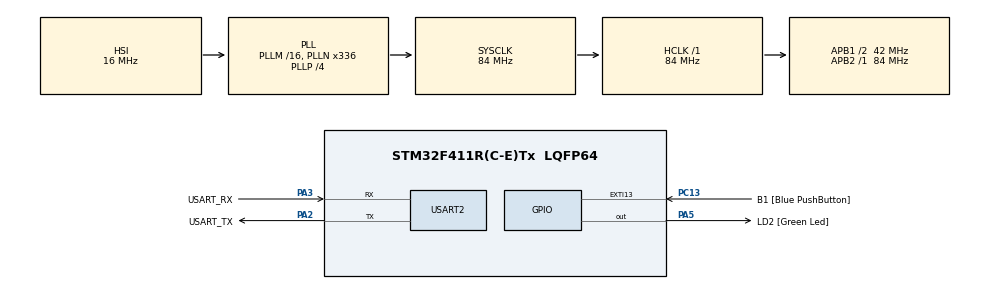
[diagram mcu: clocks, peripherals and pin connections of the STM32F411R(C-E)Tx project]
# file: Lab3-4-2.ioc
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FREERTOS.Tasks01=defaultTask,0,128,StartDefaultTask,Default,NULL,Dynamic,NULL,NULL
Mcu.Family=STM32F4
Mcu.Name=STM32F411R(C-E)Tx
Mcu.Package=LQFP64
NVIC.PriorityGroup=NVIC_PRIORITYGROUP_4
PA13.GPIO_Label=TMS
PA13.Mode=Serial_Wire
PA13.Signal=SYS_JTMS-SWDIO
PA14.GPIO_Label=TCK
PA14.Mode=Serial_Wire
PA14.Signal=SYS_JTCK-SWCLK
PA2.GPIO_Label=USART_TX
PA2.Mode=Asynchronous
PA2.Signal=USART2_TX
PA3.GPIO_Label=USART_RX
PA3.Mode=Asynchronous
PA3.Signal=USART2_RX
PA5.GPIO_Label=LD2 [Green Led]
PA5.Signal=GPIO_Output
PB3.GPIO_Label=SWO
PB3.Signal=SYS_JTDO-SWO
PC13-ANTI_TAMP.GPIO_Label=B1 [Blue PushButton]
PC13-ANTI_TAMP.GPIO_ModeDefaultEXTI=GPIO_MODE_IT_FALLING
PC13-ANTI_TAMP.Signal=GPXTI13
PC14-OSC32_IN.Mode=LSE-External-Oscillator
PC14-OSC32_IN.Signal=RCC_OSC32_IN
PC15-OSC32_OUT.Mode=LSE-External-Oscillator
PC15-OSC32_OUT.Signal=RCC_OSC32_OUT
PH0\ -\ OSC_IN.Mode=HSE-External-Clock-Source
PH0\ -\ OSC_IN.Signal=RCC_OSC_IN
PH1\ -\ OSC_OUT.Mode=HSE-External-Clock-Source
PH1\ -\ OSC_OUT.Signal=RCC_OSC_OUT
ProjectManager.HeapSize=0x200
ProjectManager.StackSize=0x400
ProjectManager.TargetToolchain=STM32CubeIDE
RCC.48MHZClocksFreq_Value=84000000
RCC.AHBFreq_Value=84000000
RCC.APB1CLKDivider=RCC_HCLK_DIV2
RCC.APB1Freq_Value=42000000
RCC.APB1TimFreq_Value=84000000
RCC.APB2Freq_Value=84000000
RCC.APB2TimFreq_Value=84000000
RCC.CortexFreq_Value=84000000
RCC.FLatency-AdvancedSettings=FLASH_LATENCY_2
RCC.HCLKFreq_Value=84000000
RCC.HSE_VALUE=8000000
RCC.HSI_VALUE=16000000
RCC.PLLN=336
RCC.PLLP=RCC_PLLP_DIV4
RCC.SYSCLKFreq_VALUE=84000000
RCC.SYSCLKSource=RCC_SYSCLKSOURCE_PLLCLK
RCC.VCOOutputFreq_Value=336000000
USART2.VirtualMode=VM_ASYNC
VP_FREERTOS_VS_CMSIS_V1.Mode=CMSIS_V1
board=NUCLEO-F411RE

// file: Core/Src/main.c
/* USER CODE BEGIN Header */
/**
 ******************************************************************************
 * @file           : main.c
 * @brief          : Main program body
 ******************************************************************************
 * @attention
 *
 * <h2><center>&copy; Copyright (c) 2021 STMicroelectronics.
 * All rights reserved.</center></h2>
 *
 * This software component is licensed by ST under BSD 3-Clause license,
 * the "License"; You may not use this file except in compliance with the
 * License. You may obtain a copy of the License at:
 *                        opensource.org/licenses/BSD-3-Clause
 *
 ******************************************************************************
 */
/* USER CODE END Header */
#include "main.h"
#include "cmsis_os.h"

UART_HandleTypeDef huart2;

osThreadId defaultTaskHandle;

void SystemClock_Config(void);
static void MX_GPIO_Init(void);
static void MX_USART2_UART_Init(void);
void StartDefaultTask(void const *argument);

int main(void) {

	/* MCU Configuration--------------------------------------------------------*/

	/* Reset of all peripherals, Initializes the Flash interface and the Systick. */
	HAL_Init();

	/* Configure the system clock */
	SystemClock_Config();

	/* Initialize all configured peripherals */
	MX_GPIO_Init();
	MX_USART2_UART_Init();

	/* Create the thread(s) */
	/* definition and creation of defaultTask */
	osThreadDef(defaultTask, StartDefaultTask, osPriorityNormal, 0, 128);
	defaultTaskHandle = osThreadCreate(osThread(defaultTask), NULL);

	/* Start scheduler */
	osKernelStart();

	/* We should never get here as control is now taken by the scheduler */
	/* Infinite loop */
	while (1) {

	}
}

void SystemClock_Config(void) {
	RCC_OscInitTypeDef RCC_OscInitStruct = { 0 };
	RCC_ClkInitTypeDef RCC_ClkInitStruct = { 0 };

	/** Configure the main internal regulator output voltage
	 */
	__HAL_RCC_PWR_CLK_ENABLE();
	__HAL_PWR_VOLTAGESCALING_CONFIG(PWR_REGULATOR_VOLTAGE_SCALE1);
	/** Initializes the RCC Oscillators according to the specified parameters
	 * in the RCC_OscInitTypeDef structure.
	 */
	RCC_OscInitStruct.OscillatorType = RCC_OSCILLATORTYPE_HSI;
	RCC_OscInitStruct.HSIState = RCC_HSI_ON;
	RCC_OscInitStruct.HSICalibrationValue = RCC_HSICALIBRATION_DEFAULT;
	RCC_OscInitStruct.PLL.PLLState = RCC_PLL_ON;
	RCC_OscInitStruct.PLL.PLLSource = RCC_PLLSOURCE_HSI;
	RCC_OscInitStruct.PLL.PLLM = 16;
	RCC_OscInitStruct.PLL.PLLN = 336;
	RCC_OscInitStruct.PLL.PLLP = RCC_PLLP_DIV4;
	RCC_OscInitStruct.PLL.PLLQ = 4;
	if (HAL_RCC_OscConfig(&RCC_OscInitStruct) != HAL_OK) {
		Error_Handler();
	}
	/** Initializes the CPU, AHB and APB buses clocks
	 */
	RCC_ClkInitStruct.ClockType = RCC_CLOCKTYPE_HCLK | RCC_CLOCKTYPE_SYSCLK
			| RCC_CLOCKTYPE_PCLK1 | RCC_CLOCKTYPE_PCLK2;
	RCC_ClkInitStruct.SYSCLKSource = RCC_SYSCLKSOURCE_PLLCLK;
	RCC_ClkInitStruct.AHBCLKDivider = RCC_SYSCLK_DIV1;
	RCC_ClkInitStruct.APB1CLKDivider = RCC_HCLK_DIV2;
	RCC_ClkInitStruct.APB2CLKDivider = RCC_HCLK_DIV1;

	if (HAL_RCC_ClockConfig(&RCC_ClkInitStruct, FLASH_LATENCY_2) != HAL_OK) {
		Error_Handler();
	}
}

static void MX_USART2_UART_Init(void) {

	huart2.Instance = USART2;
	huart2.Init.BaudRate = 115200;
	huart2.Init.WordLength = UART_WORDLENGTH_8B;
	huart2.Init.StopBits = UART_STOPBITS_1;
	huart2.Init.Parity = UART_PARITY_NONE;
	huart2.Init.Mode = UART_MODE_TX_RX;
	huart2.Init.HwFlowCtl = UART_HWCONTROL_NONE;
	huart2.Init.OverSampling = UART_OVERSAMPLING_16;
	if (HAL_UART_Init(&huart2) != HAL_OK) {
		Error_Handler();
	}

}

static void MX_GPIO_Init(void) {
	GPIO_InitTypeDef GPIO_InitStruct = { 0 };

	/* GPIO Ports Clock Enable */
	__HAL_RCC_GPIOC_CLK_ENABLE();
	__HAL_RCC_GPIOH_CLK_ENABLE();
	__HAL_RCC_GPIOA_CLK_ENABLE();
	__HAL_RCC_GPIOB_CLK_ENABLE();

	/*Configure GPIO pin Output Level */
	HAL_GPIO_WritePin(LD2_GPIO_Port, LD2_Pin, GPIO_PIN_RESET);

	/*Configure GPIO pin : B1_Pin */
	GPIO_InitStruct.Pin = B1_Pin;
	GPIO_InitStruct.Mode = GPIO_MODE_IT_FALLING;
	GPIO_InitStruct.Pull = GPIO_NOPULL;
	HAL_GPIO_Init(B1_GPIO_Port, &GPIO_InitStruct);

	/*Configure GPIO pin : LD2_Pin */
	GPIO_InitStruct.Pin = LD2_Pin;
	GPIO_InitStruct.Mode = GPIO_MODE_OUTPUT_PP;
	GPIO_InitStruct.Pull = GPIO_NOPULL;
	GPIO_InitStruct.Speed = GPIO_SPEED_FREQ_LOW;
	HAL_GPIO_Init(LD2_GPIO_Port, &GPIO_InitStruct);

}

/* USER CODE BEGIN 4 */
typedef struct {
	char v[32];
} T_MEAS;

osMailQDef(mail, 16, T_MEAS);
osMailQId mail;

void led_thread(void const *args) {
	while (1) {
		HAL_GPIO_TogglePin(GPIOA, GPIO_PIN_5);
		osDelay(18);
	}
}

void a_thread(void const *args) {
	char c = 'A';
	while (1) {
		HAL_UART_Transmit(&huart2, &c, 1, 50);
		osDelay(1000);
	}
}

void b_thread(void const *args) {
	char c = 'B';
	while (1) {
		HAL_UART_Transmit(&huart2, &c, 1, 128);
		osDelay(1000);
	}
}

void send0_thread(void const *args) {
	int idx = 0;
	while (1) {
		T_MEAS *mptr;
		mptr = osMailAlloc(mail, osWaitForever);
		sprintf(mptr->v, "\r\nTID: 0 %d", idx);
		idx++;
		osMailPut(mail, mptr);
		osDelay(1000);
		osThreadYield();
	}
}

void send1_thread(void const *args) {
	int idx = 0;
	while (1) {
		T_MEAS *mptr;
		mptr = osMailAlloc(mail, osWaitForever);
		sprintf(mptr->v, "\r\nTID: 1 %d", idx);
		idx++;
		osMailPut(mail, mptr);
		osDelay(1000);
		osThreadYield();
	}
}

void recv_thread(void const *args) {
	T_MEAS *rptr;
	osEvent evt;

	for (;;) {
		evt = osMailGet(mail, osWaitForever);
		if (evt.status == osEventMail) {
			rptr = evt.value.p;
			HAL_UART_Transmit(&huart2, rptr->v, sizeof(rptr->v), 1000);
			osMailFree(mail, rptr);
		}
	}
}
/* USER CODE END 4 */

void StartDefaultTask(void const *argument) {
	/* USER CODE BEGIN 5 */

	mail = osMailCreate(osMailQ(mail), NULL);

	osThreadDef(led, led_thread, osPriorityNormal, 0, 128);
	osThreadId led_th = osThreadCreate(osThread(led), NULL);

	osThreadDef(a, a_thread, osPriorityNormal, 1, 128);
	osThreadId a_th = osThreadCreate(osThread(a), NULL);

	osThreadDef(b, b_thread, osPriorityNormal, 1, 128);
	osThreadId b_th = osThreadCreate(osThread(b), NULL);

	osThreadDef(s0, send0_thread, osPriorityNormal, 1, 128);
	osThreadId s0_th = osThreadCreate(osThread(s0), NULL);

	osThreadDef(s1, send1_thread, osPriorityNormal, 1, 128);
	osThreadId s1_th = osThreadCreate(osThread(s1), NULL);

	osThreadDef(r, recv_thread, osPriorityNormal, 1, 128);
	osThreadId r_th = osThreadCreate(osThread(r), NULL);

	/* Infinite loop */
	for (;;) {
		osDelay(1);
	}
	/* USER CODE END 5 */
}

void Error_Handler(void) {
	__disable_irq();
	while (1) {
	}
}

/************************ (C) COPYRIGHT STMicroelectronics *****END OF FILE****/
